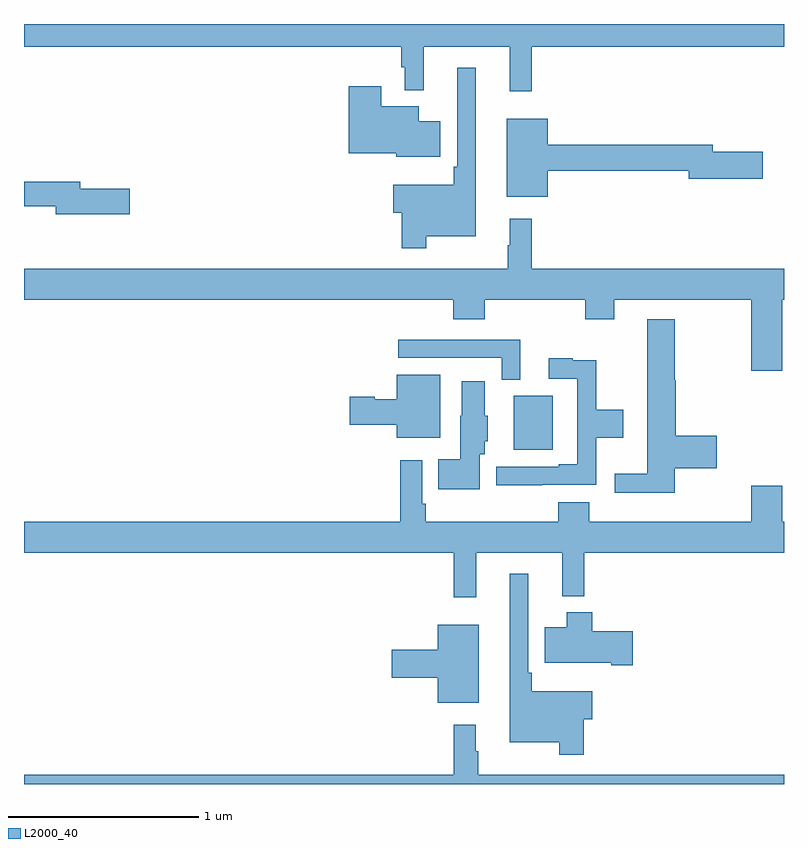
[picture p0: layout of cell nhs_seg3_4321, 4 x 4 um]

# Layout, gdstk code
import gdstk
lib = gdstk.Library(unit=1e-6, precision=1e-09)
def R(c, l, rs):  # rectangles x0, y0, x1, y1
    for r in rs: c.add(gdstk.rectangle(r[:2], r[2:], *l))
def P(c, l, *ps):  # polygons
    for p in ps: c.add(gdstk.Polygon(p, *l))
L2000_40 = (2000, 40)

nhs_seg3_4321 = lib.new_cell('nhs_seg3_4321')
R(nhs_seg3_4321, L2000_40, [(343.577,668.159,343.783,668.443)])
P(nhs_seg3_4321, L2000_40, [(343.673,670.28),(345,670.28),(345,670.4),(341,670.4),(341,670.28),(342.985,670.28),(342.985,670.173),(343.005,670.173),(343.005,670.052),(343.103,670.052),(343.103,670.28),(343.556,670.28),(343.556,670.047),(343.673,670.047)],
  [(343.117,669.284),(343.378,669.284),(343.378,670.171),(343.281,670.171),(343.281,669.649),(343.261,669.649),(343.261,669.553),(342.944,669.553),(342.944,669.406),(342.988,669.406),(342.988,669.219),(343.117,669.219)],
  [(343.192,669.889),(343.078,669.889),(343.078,669.967),(342.88,669.967),(342.88,670.072),(342.71,670.072),(342.71,669.719),(342.96,669.719),(342.96,669.701),(343.192,669.701)],
  [(343.756,669.628),(344.498,669.628),(344.498,669.586),(344.887,669.586),(344.887,669.728),(344.626,669.728),(344.626,669.764),(343.756,669.764),(343.756,669.901),(343.541,669.901),(343.541,669.491),(343.756,669.491)],
  [(341.557,669.533),(341.296,669.533),(341.296,669.569),(341,669.569),(341,669.441),(341.168,669.441),(341.168,669.398),(341.557,669.398)],
  [(344.992,668.948),(345,668.948),(345,669.112),(343.673,669.112),(343.673,669.376),(343.556,669.376),(343.556,669.236),(343.545,669.236),(343.545,669.112),(341,669.112),(341,668.948),(343.259,668.948),(343.259,668.846),(343.424,668.846),(343.424,668.948),(343.955,668.948),(343.955,668.846),(344.107,668.846),(344.107,668.948),(344.828,668.948),(344.828,668.574),(344.992,668.574)],
  [(344.424,668.063),(344.647,668.063),(344.647,668.234),(344.429,668.234),(344.429,668.525),(344.424,668.525),(344.424,668.845),(344.279,668.845),(344.279,668.033),(344.109,668.033),(344.109,667.934),(344.424,667.934)],
  [(343.612,668.739),(342.969,668.739),(342.969,668.643),(343.515,668.643),(343.515,668.528),(343.612,668.528)],
  [(343.727,667.974),(344.012,667.974),(344.012,668.222),(344.155,668.222),(344.155,668.37),(344.012,668.37),(344.012,668.63),(343.889,668.63),(343.889,668.641),(343.761,668.641),(343.761,668.532),(343.911,668.532),(343.911,668.083),(343.814,668.083),(343.814,668.07),(343.485,668.07),(343.485,667.973),(343.727,667.973)],
  [(343.192,668.554),(342.962,668.554),(342.962,668.425),(342.846,668.425),(342.846,668.438),(342.714,668.438),(342.714,668.291),(342.962,668.291),(342.962,668.222),(343.192,668.222)],
  [(343.399,668.136),(343.426,668.136),(343.426,668.205),(343.441,668.205),(343.441,668.337),(343.426,668.337),(343.426,668.521),(343.304,668.521),(343.304,668.337),(343.295,668.337),(343.295,668.11),(343.18,668.11),(343.18,667.952),(343.399,667.952)],
  [(343.379,667.616),(343.832,667.616),(343.832,667.388),(343.949,667.388),(343.949,667.616),(345,667.616),(345,667.78),(344.992,667.78),(344.992,667.969),(344.828,667.969),(344.828,667.78),(343.976,667.78),(343.976,667.882),(343.811,667.882),(343.811,667.78),(343.115,667.78),(343.115,667.876),(343.095,667.876),(343.095,668.104),(342.979,668.104),(342.979,667.78),(341,667.78),(341,667.616),(343.261,667.616),(343.261,667.383),(343.379,667.383)],
  [(343.946,666.742),(343.99,666.742),(343.99,666.889),(343.673,666.889),(343.673,666.985),(343.653,666.985),(343.653,667.507),(343.556,667.507),(343.556,666.62),(343.818,666.62),(343.818,666.555),(343.946,666.555)],
  [(344.203,667.203),(343.991,667.203),(343.991,667.303),(343.856,667.303),(343.856,667.225),(343.742,667.225),(343.742,667.037),(344.09,667.037),(344.09,667.025),(344.203,667.025)],
  [(343.393,667.237),(343.178,667.237),(343.178,667.106),(342.936,667.106),(342.936,666.959),(343.178,666.959),(343.178,666.827),(343.393,666.827)],
  [(345,666.448),(343.39,666.448),(343.39,666.572),(343.378,666.572),(343.378,666.712),(343.261,666.712),(343.261,666.448),(341,666.448),(341,666.4),(345,666.4)])

lib.write_gds('nhs_seg3_4321.gds')
